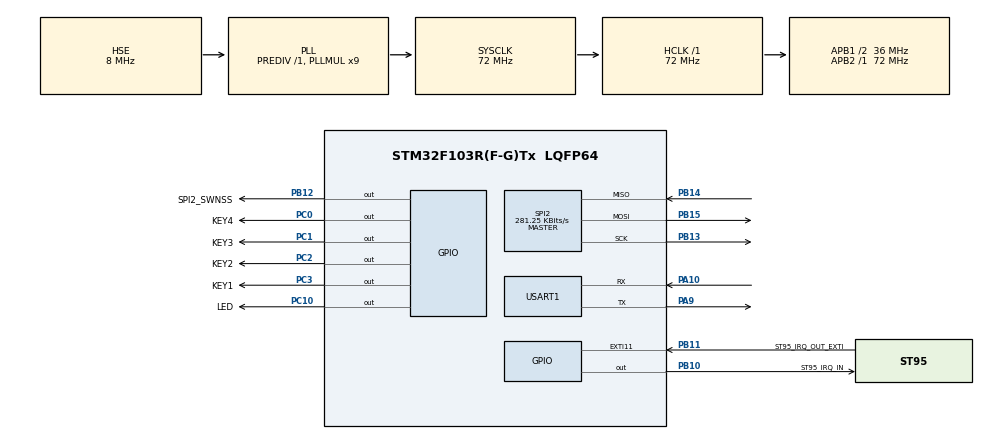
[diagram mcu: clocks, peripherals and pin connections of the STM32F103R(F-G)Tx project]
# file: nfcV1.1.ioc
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Mcu.Family=STM32F1
Mcu.Name=STM32F103R(F-G)Tx
Mcu.Package=LQFP64
NVIC.EXTI15_10_IRQn=true\:1\:0\:true\:false\:true\:true\:true
NVIC.PriorityGroup=NVIC_PRIORITYGROUP_2
NVIC.USART1_IRQn=true\:1\:1\:true\:false\:true\:true\:true
PA10.Mode=Asynchronous
PA10.Signal=USART1_RX
PA13.Mode=Serial_Wire
PA13.Signal=SYS_JTMS-SWDIO
PA14.Mode=Serial_Wire
PA14.Signal=SYS_JTCK-SWCLK
PA9.Mode=Asynchronous
PA9.Signal=USART1_TX
PB10.GPIO_Label=ST95_IRQ_IN
PB10.GPIO_ModeDefaultOutputPP=GPIO_MODE_OUTPUT_PP
PB10.GPIO_PuPd=GPIO_PULLUP
PB10.GPIO_Speed=GPIO_SPEED_FREQ_HIGH
PB10.PinState=GPIO_PIN_SET
PB10.Signal=GPIO_Output
PB11.GPIO_Label=ST95_IRQ_OUT_EXTI
PB11.GPIO_ModeDefaultEXTI=GPIO_MODE_IT_FALLING
PB11.GPIO_PuPd=GPIO_NOPULL
PB11.Signal=GPXTI11
PB12.GPIO_Label=SPI2_SWNSS
PB12.GPIO_ModeDefaultOutputPP=GPIO_MODE_OUTPUT_PP
PB12.GPIO_PuPd=GPIO_PULLUP
PB12.GPIO_Speed=GPIO_SPEED_FREQ_HIGH
PB12.PinState=GPIO_PIN_SET
PB12.Signal=GPIO_Output
PB13.Mode=Full_Duplex_Master
PB13.Signal=SPI2_SCK
PB14.Mode=Full_Duplex_Master
PB14.Signal=SPI2_MISO
PB15.Mode=Full_Duplex_Master
PB15.Signal=SPI2_MOSI
PC0.GPIO_Label=KEY4
PC0.GPIO_PuPd=GPIO_PULLDOWN
PC0.GPIO_Speed=GPIO_SPEED_FREQ_HIGH
PC0.Signal=GPIO_Output
PC1.GPIO_Label=KEY3
PC1.GPIO_PuPd=GPIO_PULLDOWN
PC1.GPIO_Speed=GPIO_SPEED_FREQ_HIGH
PC1.Signal=GPIO_Output
PC10.GPIO_Label=LED
PC10.GPIO_ModeDefaultOutputPP=GPIO_MODE_OUTPUT_PP
PC10.GPIO_PuPd=GPIO_PULLUP
PC10.GPIO_Speed=GPIO_SPEED_FREQ_HIGH
PC10.PinState=GPIO_PIN_SET
PC10.Signal=GPIO_Output
PC2.GPIO_Label=KEY2
PC2.GPIO_PuPd=GPIO_PULLDOWN
PC2.GPIO_Speed=GPIO_SPEED_FREQ_HIGH
PC2.Signal=GPIO_Output
PC3.GPIO_Label=KEY1
PC3.GPIO_PuPd=GPIO_PULLDOWN
PC3.GPIO_Speed=GPIO_SPEED_FREQ_HIGH
PC3.Signal=GPIO_Output
PD0-OSC_IN.Mode=HSE-External-Oscillator
PD0-OSC_IN.Signal=RCC_OSC_IN
PD1-OSC_OUT.Mode=HSE-External-Oscillator
PD1-OSC_OUT.Signal=RCC_OSC_OUT
ProjectManager.HeapSize=0x200
ProjectManager.StackSize=0x400
ProjectManager.TargetToolchain=MDK-ARM V5.27
RCC.AHBFreq_Value=72000000
RCC.APB1CLKDivider=RCC_HCLK_DIV2
RCC.APB1Freq_Value=36000000
RCC.APB1TimFreq_Value=72000000
RCC.APB2Freq_Value=72000000
RCC.APB2TimFreq_Value=72000000
RCC.HCLKFreq_Value=72000000
RCC.PLLMUL=RCC_PLL_MUL9
RCC.PLLSourceVirtual=RCC_PLLSOURCE_HSE
RCC.SYSCLKFreq_VALUE=72000000
RCC.SYSCLKSource=RCC_SYSCLKSOURCE_PLLCLK
RCC.USBFreq_Value=48000000
RCC.USBPrescaler=RCC_USBCLKSOURCE_PLL_DIV1_5
SPI2.BaudRatePrescaler=SPI_BAUDRATEPRESCALER_128
SPI2.CLKPhase=SPI_PHASE_2EDGE
SPI2.CLKPolarity=SPI_POLARITY_HIGH
SPI2.CalculateBaudRate=281.25 KBits/s
SPI2.Direction=SPI_DIRECTION_2LINES
SPI2.FirstBit=SPI_FIRSTBIT_MSB
SPI2.Mode=SPI_MODE_MASTER
SPI2.VirtualType=VM_MASTER
USART1.VirtualMode=VM_ASYNC
board=custom

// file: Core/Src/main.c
/* USER CODE BEGIN Header */
/**
  ******************************************************************************
  * @file           : main.c
  * @brief          : Main program body
  ******************************************************************************
  * @attention
  *
  * <h2><center>&copy; Copyright (c) 2021 STMicroelectronics.
  * All rights reserved.</center></h2>
  *
  * This software component is licensed by ST under BSD 3-Clause license,
  * the "License"; You may not use this file except in compliance with the
  * License. You may obtain a copy of the License at:
  *                        opensource.org/licenses/BSD-3-Clause
  *
  ******************************************************************************
  */
/* USER CODE END Header */
#include "main.h"
#include "spi.h"
#include "usart.h"
#include "gpio.h"

/* USER CODE BEGIN PV */

uint8_t dviceid[20] = {0xff};
uint8_t uartcmd[4] = {0};

/* USER CODE END PV */

void SystemClock_Config(void);

int main(void)
{
  /* USER CODE BEGIN 1 */
	uint8_t addr;
    uint8_t uidbuff[20] = {0x00};

  /* USER CODE END 1 */

  /* MCU Configuration--------------------------------------------------------*/

  /* Reset of all peripherals, Initializes the Flash interface and the Systick. */
  HAL_Init();

  /* USER CODE BEGIN Init */

	//HAL_Delay(1000);//等待

  /* USER CODE END Init */

  /* Configure the system clock */
  SystemClock_Config();

  /* Initialize all configured peripherals */
  MX_GPIO_Init();
  MX_USART1_UART_Init();
  MX_SPI2_Init();
  /* USER CODE BEGIN 2 */
	HAL_UART_Receive_IT(&huart1, uartcmd, 1);

		printf("System Init [OK]\r\n");

		printf("POR \r\n");
		ConfigManager_PORsequence();

		printf("read DevID \r\n");
		ConfigManager_DevIDN();

		printf("select protocol \r\n");
        SelectProtocol();

		printf("adjust gain\r\n");
//		AdjustTimerW();
        ModulationGain();

		printf("============ISO14443A anticollison start=============\r\n");

        printf("Anticol REQA\r\n");
        ISO14443A_REQA();

        printf("Anticol CL1\r\n");
        ISO14443A_ANTICOL1(uidbuff);

        printf("Anticol Select1\r\n");
        ISO14443A_SELECT1(uidbuff);
		printf("============ISO14443A anticollison stop==============\r\n");

        printf("\r\n");

		printf("============Authenticate satrt==========\r\n");
        AuthenticateBlock(uidbuff,1);
		printf("============Authenticate stop===========\r\n");

		addr = 0x01;
//		for(addr = 0x00; addr < 0x08; addr++)
//		{

			printf("read\r\n");
			Readtag(addr);

//			printf("write\r\n");
//			Writetag(addr);
//
//			printf("read\r\n");
//			Readtag(addr);

//		}

  /* USER CODE END 2 */

  /* Infinite loop */
  /* USER CODE BEGIN WHILE */
  while (1)
  {

		HAL_GPIO_TogglePin(LED_GPIO_Port,LED_Pin);
//		HAL_UART_Receive(&huart1, uartcmd, 1, 0xf);

		if(uartcmd[0] == 0x31)
		{
			printf("Software [Reset]\r\n");
			HAL_NVIC_SystemReset();
		}

//		HAL_Delay(1000);

    /* USER CODE END WHILE */

  }
}

void SystemClock_Config(void)
{
  RCC_OscInitTypeDef RCC_OscInitStruct = {0};
  RCC_ClkInitTypeDef RCC_ClkInitStruct = {0};

  /** Initializes the RCC Oscillators according to the specified parameters
  * in the RCC_OscInitTypeDef structure.
  */
  RCC_OscInitStruct.OscillatorType = RCC_OSCILLATORTYPE_HSE;
  RCC_OscInitStruct.HSEState = RCC_HSE_ON;
  RCC_OscInitStruct.HSEPredivValue = RCC_HSE_PREDIV_DIV1;
  RCC_OscInitStruct.HSIState = RCC_HSI_ON;
  RCC_OscInitStruct.PLL.PLLState = RCC_PLL_ON;
  RCC_OscInitStruct.PLL.PLLSource = RCC_PLLSOURCE_HSE;
  RCC_OscInitStruct.PLL.PLLMUL = RCC_PLL_MUL9;
  if (HAL_RCC_OscConfig(&RCC_OscInitStruct) != HAL_OK)
  {
    Error_Handler();
  }
  /** Initializes the CPU, AHB and APB buses clocks
  */
  RCC_ClkInitStruct.ClockType = RCC_CLOCKTYPE_HCLK|RCC_CLOCKTYPE_SYSCLK
                              |RCC_CLOCKTYPE_PCLK1|RCC_CLOCKTYPE_PCLK2;
  RCC_ClkInitStruct.SYSCLKSource = RCC_SYSCLKSOURCE_PLLCLK;
  RCC_ClkInitStruct.AHBCLKDivider = RCC_SYSCLK_DIV1;
  RCC_ClkInitStruct.APB1CLKDivider = RCC_HCLK_DIV2;
  RCC_ClkInitStruct.APB2CLKDivider = RCC_HCLK_DIV1;

  if (HAL_RCC_ClockConfig(&RCC_ClkInitStruct, FLASH_LATENCY_2) != HAL_OK)
  {
    Error_Handler();
  }
}

void Error_Handler(void)
{
  __disable_irq();
  while (1)
  {
  }
}

/************************ (C) COPYRIGHT STMicroelectronics *****END OF FILE****/
